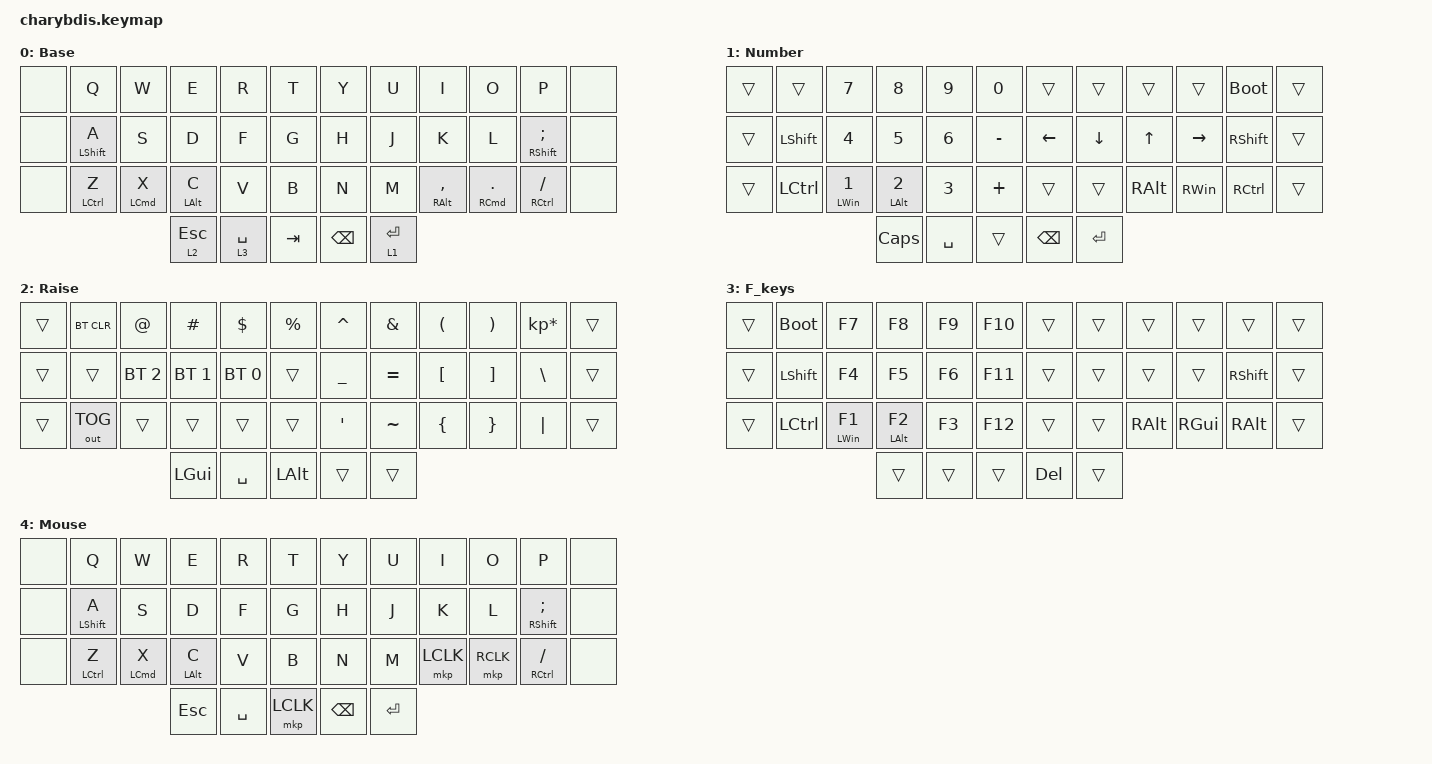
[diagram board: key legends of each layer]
#include <behaviors/mouse_keys.dtsi>
#include <behaviors.dtsi>
#include <dt-bindings/zmk/bt.h>
#include <dt-bindings/zmk/keys.h>
#include <dt-bindings/zmk/mouse.h>
#include <dt-bindings/zmk/outputs.h>

&lt {
    tapping-term-ms = <250>;
    flavor = "tap-preferred";
    require-prior-idle-ms = <130>;
    quick-tap-ms = <200>;
};

&mt {
    tapping-term-ms = <250>;
    flavor = "tap-preferred";
    require-prior-idle-ms = <130>;
    quick-tap-ms = <200>;
};

/ {
    keymap {
        compatible = "zmk,keymap";

        Base {
            label = "Base";
            bindings = <
&none  &kp Q             &kp W       &kp E         &kp R        &kp T      &kp Y          &kp U        &kp I           &kp O            &kp P                 &none
&none  &mt LEFT_SHIFT A  &kp S       &kp D         &kp F        &kp G      &kp H          &kp J        &kp K           &kp L            &mt RIGHT_SHIFT SEMI  &none
&none  &mt LCTRL Z       &mt LCMD X  &mt LALT C    &kp V        &kp B      &kp N          &kp M        &mt RALT COMMA  &mt RCMD PERIOD  &mt RCTRL SLASH       &none
                                     &lt 2 ESCAPE  &lt 3 SPACE  &kp TAB    &kp BACKSPACE  &lt 1 ENTER
            >;
        };

        Number {
            label = "Number";
            bindings = <
&trans  &trans     &kp NUMBER_7       &kp NUMBER_8       &kp NUMBER_9  &kp NUMBER_0    &trans          &trans          &trans        &trans           &bootloader  &trans
&trans  &kp LSHFT  &kp NUMBER_4       &kp NUMBER_5       &kp NUMBER_6  &kp MINUS       &kp LEFT_ARROW  &kp DOWN_ARROW  &kp UP_ARROW  &kp RIGHT_ARROW  &kp RSHFT    &trans
&trans  &kp LCTRL  &mt LWIN NUMBER_1  &mt LALT NUMBER_2  &kp NUMBER_3  &kp PLUS        &trans          &trans          &kp RALT      &kp RWIN         &kp RCTRL    &trans
                                      &kp CAPSLOCK       &kp SPACE     &trans          &kp BACKSPACE   &kp RET
            >;
        };

        Symbol {
            label = "Raise";
            bindings = <
&trans  &bt BT_CLR    &kp AT        &kp HASH      &kp DLLR      &kp PRCNT       &kp CARET         &kp AMPS   &kp LPAR  &kp RPAR  &kp KP_ASTERISK  &trans
&trans  &trans        &bt BT_SEL 2  &bt BT_SEL 1  &bt BT_SEL 0  &trans          &kp UNDER         &kp EQUAL  &kp LBKT  &kp RBKT  &kp BSLH         &trans
&trans  &out OUT_TOG  &trans        &trans        &trans        &trans          &kp SINGLE_QUOTE  &kp TILDE  &kp LBRC  &kp RBRC  &kp PIPE         &trans
                                    &kp LGUI      &kp SPACE     &kp LEFT_ALT    &trans            &trans
            >;
        };

        F_keys {
            label = "F_keys";
            bindings = <
&trans  &bootloader  &kp F7       &kp F8       &kp F9  &kp F10    &trans      &trans  &trans    &trans    &trans     &trans
&trans  &kp LSHFT    &kp F4       &kp F5       &kp F6  &kp F11    &trans      &trans  &trans    &trans    &kp RSHFT  &trans
&trans  &kp LCTRL    &mt LWIN F1  &mt LALT F2  &kp F3  &kp F12    &trans      &trans  &kp RALT  &kp RGUI  &kp RALT   &trans
                                  &trans       &trans  &trans     &kp DELETE  &trans
            >;
        };

        Mouse {
            bindings = <
&none  &kp Q             &kp W       &kp E       &kp R      &kp T        &kp Y          &kp U      &kp I      &kp O      &kp P                 &none
&none  &mt LEFT_SHIFT A  &kp S       &kp D       &kp F      &kp G        &kp H          &kp J      &kp K      &kp L      &mt RIGHT_SHIFT SEMI  &none
&none  &mt LCTRL Z       &mt LCMD X  &mt LALT C  &kp V      &kp B        &kp N          &kp M      &mkp LCLK  &mkp RCLK  &mt RCTRL SLASH       &none
                                     &kp ESCAPE  &kp SPACE  &mkp LCLK    &kp BACKSPACE  &kp ENTER
            >;
        };
    };
};
